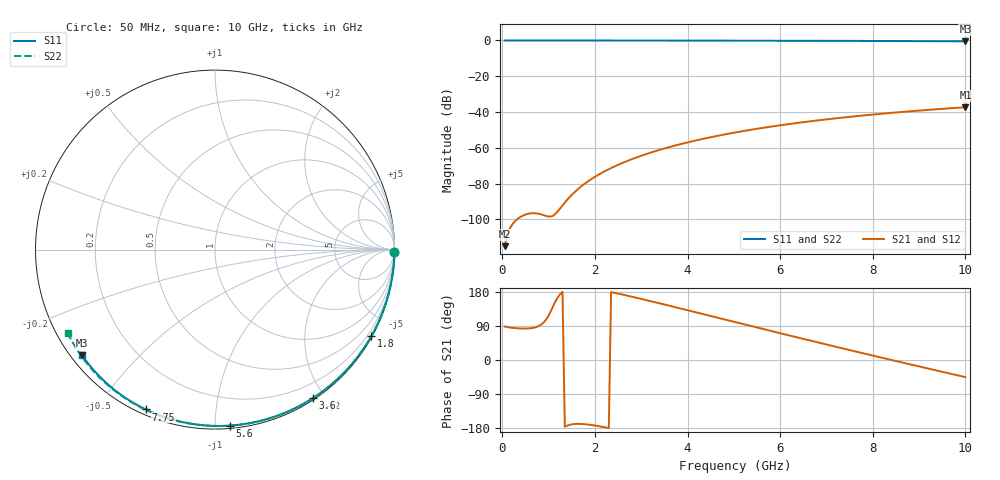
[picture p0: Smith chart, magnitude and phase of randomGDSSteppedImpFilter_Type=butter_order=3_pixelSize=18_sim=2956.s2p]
! freq	dB(S11)	phase(S11)	dB(S12)	phase(S12)
!  dB(S21)	phase(S21)	dB(S22)	phase(S22)
!S-par simulation data
#  GHz  S  DB  R 50
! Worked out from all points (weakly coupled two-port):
!   200 points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, 50 MHz to 10 GHz, reference 50 ohm
!   highest |S21| = -37.35 dB at 10 GHz (marker M1); lowest = -115.0 dB at 50 MHz (marker M2)
!   lowest |S11| = -0.5 dB at 10 GHz (marker M3), VSWR 36.23, Z = 1.55 - j17.4 ohm
!   |S11| at or under -10 dB: nowhere
!   |S22| runs from -0.5 to 0.0 dB; largest |S21 - S12| = 0
!   S11 on the Smith chart (normalised r, x): 50 MHz: open; 1.8 GHz: 0.03, -3.87; 3.6 GHz: 0.02, -1.86; 5.6 GHz: 0.02, -1.09; 7.75 GHz: 0.02, -0.66; 10 GHz: 0.03, -0.35
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0.05  -0.00 -0.8  -115.02 88.4  -115.02 88.4  -0.00 -0.9
0.45  -0.01 -7.4  -97.86 82.9  -97.86 82.9  -0.01 -7.9
0.9  -0.02 -14.6  -97.73 99.9  -97.73 99.9  -0.02 -15.6
1.3  -0.03 -21.1  -92.21 179.8  -92.21 179.8  -0.03 -22.5
1.75  -0.04 -28.2  -80.66 -169.1  -80.66 -169.1  -0.04 -30.1
1.8  -0.04 -29.0  -79.69 -169.7  -79.69 -169.7  -0.04 -30.9
1.95  -0.04 -31.4  -77.05 -171.9  -77.05 -171.9  -0.04 -33.4
2.1  -0.04 -33.7  -74.73 -174.9  -74.73 -174.9  -0.05 -35.9
2.3  -0.05 -36.8  -71.98 -179.6  -71.98 -179.6  -0.05 -39.2
2.5  -0.05 -39.9  -69.55 175.3  -69.55 175.3  -0.05 -42.5
2.9  -0.06 -46.1  -65.39 164.1  -65.39 164.1  -0.06 -49.1
3.4  -0.07 -53.6  -61.14 149.5  -61.14 149.5  -0.08 -57.1
3.6  -0.08 -56.6  -59.66 143.5  -59.66 143.5  -0.08 -60.2
4.3  -0.09 -66.9  -55.20 122.2  -55.20 122.2  -0.10 -71.1
5.05  -0.12 -77.5  -51.35 99.4  -51.35 99.4  -0.13 -82.4
5.6  -0.14 -85.1  -48.97 82.7  -48.97 82.7  -0.15 -90.4
6.15  -0.16 -92.6  -46.89 66.2  -46.89 66.2  -0.18 -98.2
6.7  -0.19 -99.9  -45.04 49.8  -45.04 49.8  -0.21 -105.9
7.75  -0.26 -113.4  -42.05 18.9  -42.05 18.9  -0.28 -120.3
8.35  -0.31 -121.0  -40.60 1.6  -40.60 1.6  -0.33 -128.4
9.2  -0.39 -131.6  -38.80 -22.7  -38.80 -22.7  -0.41 -139.7
10  -0.48 -141.6  -37.35 -45.2  -37.35 -45.2  -0.51 -150.5
